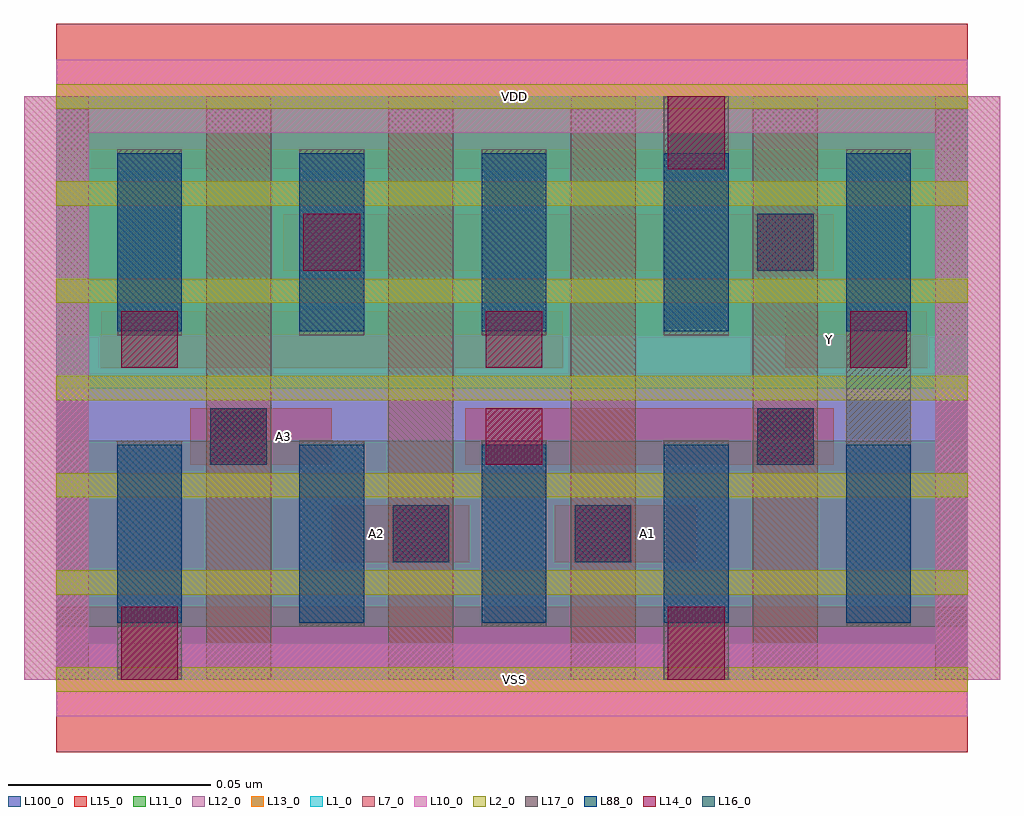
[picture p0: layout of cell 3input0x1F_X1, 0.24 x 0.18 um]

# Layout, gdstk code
import gdstk
lib = gdstk.Library(unit=1e-6, precision=1e-09)
def R(c, l, rs):  # rectangles x0, y0, x1, y1
    for r in rs: c.add(gdstk.rectangle(r[:2], r[2:], *l))
def A(c, l, x, y, w, h, nx, ny, dx, dy):  # array of equal rectangles
    R(c, l, [(x+i*dx, y+j*dy, x+i*dx+w, y+j*dy+h) for i in range(nx) for j in range(ny)])
def P(c, l, *ps):  # polygons
    for p in ps: c.add(gdstk.Polygon(p, *l))
L1_0 = (1, 0)
L2_0 = (2, 0)
L7_0 = (7, 0)
L10_0 = (10, 0)
L11_0 = (11, 0)
L12_0 = (12, 0)
L13_0 = (13, 0)
L14_0 = (14, 0)
L15_0 = (15, 0)
L16_0 = (16, 0)
L17_0 = (17, 0)
L88_0 = (88, 0)
L100_0 = (100, 0)

c_3input0x1f_x1 = lib.new_cell('3input0x1F_X1')
R(c_3input0x1f_x1, L1_0, [(0,0.072,0.225,0.144)])
A(c_3input0x1f_x1, L2_0, 0, -0.003, 0.225, 0.006, 1, 7, 0, 0.024)
A(c_3input0x1f_x1, L7_0, -0.008, 0, 0.016, 0.144, 6, 1, 0.045, 0)
P(c_3input0x1f_x1, L10_0, [(0,-0.009),(0,0),(-0.008,0),(-0.008,0.135),(0.008,0.135),(0.008,0.009),(0.217,0.009),(0.217,0.135),(-0.008,0.135),(-0.008,0.144),(0,0.144),(0,0.153),(0.225,0.153),(0.225,0.144),(0.233,0.144),(0.233,0),(0.225,0),(0.225,-0.009)])
R(c_3input0x1f_x1, L11_0, [(0,0.013,0.225,0.059), (0,0.085,0.225,0.131)])
R(c_3input0x1f_x1, L12_0, [(0,0,0.225,0.072)])
R(c_3input0x1f_x1, L13_0, [(0,0.072,0.225,0.144)])
A(c_3input0x1f_x1, L14_0, 0.016, 0.077, 0.014, 0.014, 3, 1, 0.09, 0)
R(c_3input0x1f_x1, L14_0, [(0.016,0,0.03,0.018), (0.151,0,0.165,0.018), (0.083,0.029,0.097,0.043), (0.128,0.029,0.142,0.043), (0.038,0.053,0.052,0.067), (0.106,0.053,0.12,0.067), (0.173,0.053,0.187,0.067), (0.061,0.101,0.075,0.115), (0.173,0.101,0.187,0.115), (0.151,0.126,0.165,0.144)])
R(c_3input0x1f_x1, L15_0, [(0,-0.018,0.225,0.018), (0.068,0.029,0.102,0.043), (0.123,0.029,0.158,0.043), (0.033,0.053,0.068,0.067), (0.101,0.053,0.192,0.067), (0.011,0.077,0.125,0.091), (0.18,0.077,0.215,0.091), (0.056,0.101,0.192,0.115), (0,0.126,0.225,0.162)])
R(c_3input0x1f_x1, L16_0, [(0.083,0.029,0.097,0.043), (0.128,0.029,0.142,0.043), (0.038,0.053,0.052,0.067), (0.173,0.053,0.187,0.067), (0.173,0.101,0.187,0.115)])
A(c_3input0x1f_x1, L17_0, 0.015, 0.085, 0.016, 0.046, 3, 1, 0.045, 0)
R(c_3input0x1f_x1, L17_0, [(0.015,0,0.031,0.059), (0.15,0,0.166,0.059), (0.06,0.013,0.076,0.059), (0.105,0.013,0.121,0.059), (0.195,0.013,0.211,0.131), (0.15,0.085,0.166,0.144)])
A(c_3input0x1f_x1, L88_0, 0.015, 0.014, 0.016, 0.044, 5, 2, 0.045, 0.072)
R(c_3input0x1f_x1, L100_0, [(0,0,0.225,0.144)])
c_3input0x1f_x1.add(gdstk.Label('A3', (0.056,0.06), layer=15, texttype=251))
c_3input0x1f_x1.add(gdstk.Label('VSS', (0.113,0), layer=15, texttype=251))
c_3input0x1f_x1.add(gdstk.Label('VDD', (0.113,0.144), layer=15, texttype=251))
c_3input0x1f_x1.add(gdstk.Label('Y', (0.191,0.084), layer=15, texttype=251))
c_3input0x1f_x1.add(gdstk.Label('VSS', (0.113,0), layer=15, texttype=251))
c_3input0x1f_x1.add(gdstk.Label('VDD', (0.113,0.144), layer=15, texttype=251))
c_3input0x1f_x1.add(gdstk.Label('A2', (0.079,0.036), layer=15, texttype=251))
c_3input0x1f_x1.add(gdstk.Label('VSS', (0.113,0), layer=15, texttype=251))
c_3input0x1f_x1.add(gdstk.Label('VDD', (0.113,0.144), layer=15, texttype=251))
c_3input0x1f_x1.add(gdstk.Label('A1', (0.146,0.036), layer=15, texttype=251))
c_3input0x1f_x1.add(gdstk.Label('VSS', (0.113,0), layer=15, texttype=251))
c_3input0x1f_x1.add(gdstk.Label('VDD', (0.113,0.144), layer=15, texttype=251))
c_3input0x1f_x1.add(gdstk.Label('VSS', (0.113,0), layer=3, texttype=251))
c_3input0x1f_x1.add(gdstk.Label('VSS', (0.113,0), layer=3, texttype=251))
c_3input0x1f_x1.add(gdstk.Label('VSS', (0.113,0), layer=3, texttype=251))
c_3input0x1f_x1.add(gdstk.Label('VSS', (0.113,0), layer=3, texttype=251))
c_3input0x1f_x1.add(gdstk.Label('VDD', (0.113,0.144), layer=1, texttype=251))
c_3input0x1f_x1.add(gdstk.Label('VDD', (0.113,0.144), layer=1, texttype=251))
c_3input0x1f_x1.add(gdstk.Label('VDD', (0.113,0.144), layer=1, texttype=251))
c_3input0x1f_x1.add(gdstk.Label('VDD', (0.113,0.144), layer=1, texttype=251))

lib.write_gds('3input0x1F_X1.gds')
